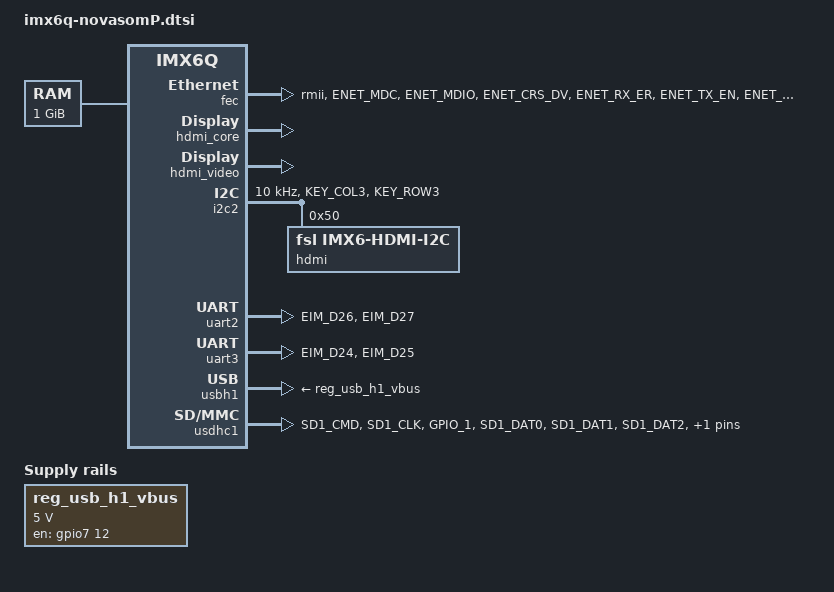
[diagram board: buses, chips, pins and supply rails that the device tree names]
/*
 * Copyright 2013-2015 Freescale Semiconductor, Inc.
 *
 * Author: Fabio Estevam <fabio.estevam@freescale.com>
 *
 * This program is free software; you can redistribute it and/or modify
 * it under the terms of the GNU General Public License version 2 as
 * published by the Free Software Foundation.
 *
 */

/ {
	aliases {
		mxcfb0 = &mxcfb1;
	};

	chosen {
		stdout-path = &uart3;
	};

	memory {
		reg = <0x10000000 0x40000000>;
	};

	regulators {
		compatible = "simple-bus";
		#address-cells = <1>;
		#size-cells = <0>;

		reg_usb_h1_vbus: regulator@0 {
			compatible = "regulator-fixed";
			reg = <0>;
			regulator-name = "usb_h1_vbus";
			regulator-min-microvolt = <5000000>;
			regulator-max-microvolt = <5000000>;
			enable-active-high;
			startup-delay-us = <2>; /* USB2415 requires a POR of 1 us minimum */
			gpio = <&gpio7 12 0>;
		};
	};

	mxcfb1: fb@0 {
		compatible = "fsl,mxc_sdc_fb";
		disp_dev = "hdmi";
		interface_pix_fmt = "RGB24";
		mode_str ="1920x1080M@60";
		default_bpp = <24>;
		int_clk = <0>;
		late_init = <0>;
		status = "okay";
	};
};

&fec {
        pinctrl-names = "default";
        pinctrl-0 = <&pinctrl_enet>;
        phy-mode = "rmii";
        status = "okay";
};

&gpc {
        fsl,ldo-bypass = <1>;
};

&hdmi_core {
	ipu_id = <0>;
	disp_id = <0>;
	status = "okay";
};

&hdmi_video {
	fsl,phy_reg_vlev = <0x0294>;
	fsl,phy_reg_cksymtx = <0x800d>;
	status = "okay";
};

&i2c2 {
        clock-frequency = <10000>;
        pinctrl-names = "default";
        pinctrl-0 = <&pinctrl_i2c2>;
        status = "okay";

        hdmi: edid@50 {
                compatible = "fsl,imx6-hdmi-i2c";
                reg = <0x50>;
        };

};

&iomuxc {
	imx6qdl-novasomp {
                pinctrl_hog: hoggrp {
                        fsl,pins = <
                                MX6QDL_PAD_GPIO_3__XTALOSC_REF_CLK_24M  0x130b0 /* 0x130b0 */   
                                MX6QDL_PAD_GPIO_16__ENET_REF_CLK        0x130b0         /* 00x0001b0a1 */
                                MX6QDL_PAD_GPIO_0__CCM_CLKO1            0x130b0 /* AUD(x)_MCK */
                        >;
                };

                pinctrl_enet: enetgrp {
                        fsl,pins = <
                                MX6QDL_PAD_ENET_MDC__ENET_MDC           0x1b0b0
                                MX6QDL_PAD_ENET_MDIO__ENET_MDIO         0x1b0b0
                                MX6QDL_PAD_ENET_CRS_DV__ENET_RX_EN      0x1b0b0
                                MX6QDL_PAD_ENET_RX_ER__ENET_RX_ER       0x1b0b0
                                MX6QDL_PAD_ENET_TX_EN__ENET_TX_EN       0x1b0b0
                                MX6QDL_PAD_ENET_RXD0__ENET_RX_DATA0     0x1b0b0
                                MX6QDL_PAD_ENET_RXD1__ENET_RX_DATA1     0x1b0b0
                                MX6QDL_PAD_ENET_TXD0__ENET_TX_DATA0     0x1b0b0
                                MX6QDL_PAD_ENET_TXD1__ENET_TX_DATA1     0x1b0b0
                        >;
                };

                pinctrl_i2c2: i2c2grp {
                        fsl,pins = <
                                MX6QDL_PAD_KEY_COL3__I2C2_SCL 0x4001b8b1
                                MX6QDL_PAD_KEY_ROW3__I2C2_SDA 0x4001b8b1
                        >;
                };

                pinctrl_uart2: uart2grp {
                        fsl,pins = <
                                MX6QDL_PAD_EIM_D26__UART2_TX_DATA 0x1b0b1
                                MX6QDL_PAD_EIM_D27__UART2_RX_DATA 0x1b0b1
                        >;
                };

                pinctrl_uart3: uart3grp {
                        fsl,pins = <
                                MX6QDL_PAD_EIM_D24__UART3_TX_DATA       0x1b0b1
                                MX6QDL_PAD_EIM_D25__UART3_RX_DATA       0x1b0b1
                        >;
                };

                pinctrl_usdhc1: usdhc1grp {
                        fsl,pins = <
                                MX6QDL_PAD_SD1_CMD__SD1_CMD             0x17059
                                MX6QDL_PAD_SD1_CLK__SD1_CLK             0x10059
                                MX6QDL_PAD_GPIO_1__SD1_CD_B             0x17059
                                MX6QDL_PAD_SD1_DAT0__SD1_DATA0          0x17059
                                MX6QDL_PAD_SD1_DAT1__SD1_DATA1          0x17059
                                MX6QDL_PAD_SD1_DAT2__SD1_DATA2          0x17059
                                MX6QDL_PAD_SD1_DAT3__SD1_DATA3          0x17059
                        >;
                };
	};
};

&uart2 {                                        /* aux rs232 */
        pinctrl-names = "default";
        pinctrl-0 = <&pinctrl_uart2>;
        status = "okay";
};


&uart3 {                                        /* console */
        pinctrl-names = "default";
        pinctrl-0 = <&pinctrl_uart3>;
        status = "okay";
};


&usbh1 {
	vbus-supply = <&reg_usb_h1_vbus>;
	/* clocks = <&clks 201>; */
	status = "okay";
};

&usdhc1 {
        pinctrl-names = "default";
        pinctrl-0 = <&pinctrl_usdhc1>;
        /*cd-gpios = <&gpio1 1 GPIO_ACTIVE_LOW>;*/
        no-1-8-v;
        keep-power-in-suspend;
        enable-sdio-wakeup;
        status = "okay";
};

